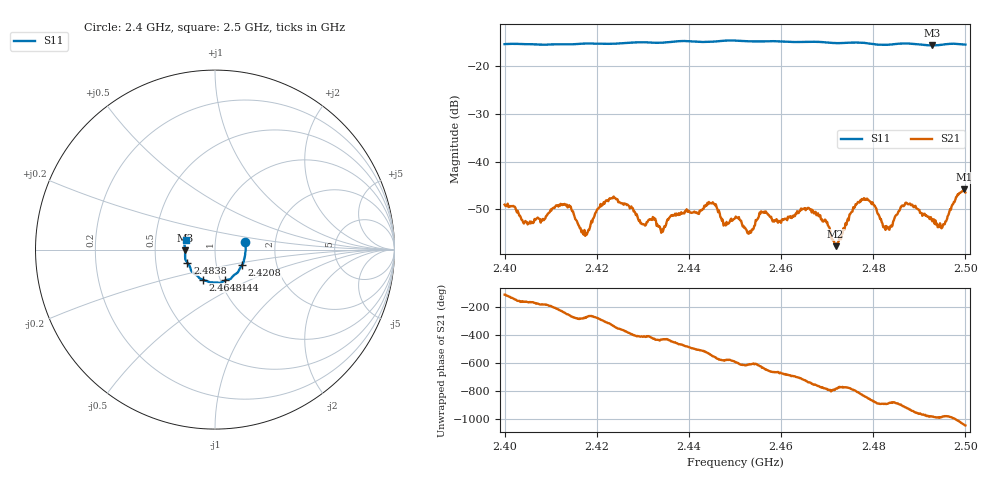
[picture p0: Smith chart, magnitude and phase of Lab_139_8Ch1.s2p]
# Hz S RI R 50
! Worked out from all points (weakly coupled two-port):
!   601 points, 2.4 GHz to 2.5 GHz, reference 50 ohm
!   highest |S21| = -45.80 dB at 2.4997 GHz (marker M1); lowest = -57.7 dB at 2.4718 GHz (marker M2)
!   lowest |S11| = -15.6 dB at 2.4928 GHz (marker M3), VSWR 1.40, Z = 35.7 - j0.327 ohm
!   |S11| at or under -10 dB: start of sweep to end of sweep
!   S12 and S22 are empty: the file has one direction only
!   S11 on the Smith chart (normalised r, x): 2.4 GHz: 1.39, +0.12; 2.4208 GHz: 1.33, -0.24; 2.444 GHz: 1.05, -0.37; 2.4648 GHz: 0.83, -0.29; 2.4838 GHz: 0.73, -0.11; 2.5 GHz: 0.72, +0.08
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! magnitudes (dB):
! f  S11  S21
! 2.4 GHz  -15.3  -49.0
! 2.4055 GHz  -15.3  -52.5
! 2.413 GHz  -15.3  -48.9
! 2.4167 GHz  -15.2  -54.8
! 2.4208 GHz  -15.2  -48.9
! 2.424 GHz  -15.2  -47.6
! 2.4333 GHz  -15.0  -53.6
! 2.444 GHz  -14.9  -48.6
! 2.45 GHz  -14.6  -51.9
! 2.4532 GHz  -14.7  -54.6
! 2.4558 GHz  -14.7  -50.5
! 2.4648 GHz  -14.9  -49.9
! 2.4667 GHz  -14.8  -50.7
! 2.4718 GHz  -15.1  -57.7
! 2.4777 GHz  -15.0  -47.9
! 2.4833 GHz  -15.4  -54.1
! 2.4838 GHz  -15.4  -53.4
! 2.4875 GHz  -15.2  -48.9
! 2.4928 GHz  -15.6  -52.5
! 2.4952 GHz  -15.4  -53.1
! 2.4997 GHz  -15.4  -45.8
! 2.5 GHz  -15.4  -46.5
